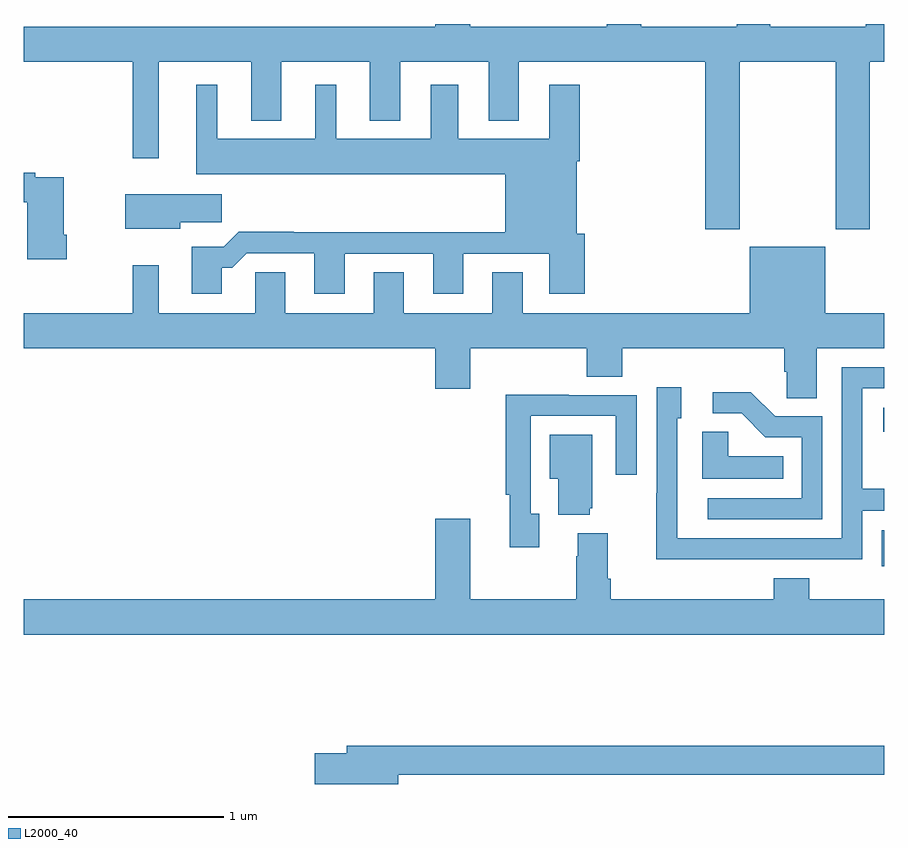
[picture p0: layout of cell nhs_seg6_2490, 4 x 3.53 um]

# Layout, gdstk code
import gdstk
lib = gdstk.Library(unit=1e-6, precision=1e-09)
def R(c, l, rs):  # rectangles x0, y0, x1, y1
    for r in rs: c.add(gdstk.rectangle(r[:2], r[2:], *l))
def P(c, l, *ps):  # polygons
    for p in ps: c.add(gdstk.Polygon(p, *l))
L2000_40 = (2000, 40)

nhs_seg6_2490 = lib.new_cell('nhs_seg6_2490')
R(nhs_seg6_2490, L2000_40, [(262.989,956.979,263,957.147), (262.995,957.605,263,957.715)])
P(nhs_seg6_2490, L2000_40, [(262.329,959.324),(262.774,959.324),(262.774,958.545),(262.934,958.545),(262.934,959.324),(263,959.324),(263,959.5),(262.915,959.5),(262.915,959.488),(262.47,959.488),(262.47,959.5),(262.315,959.5),(262.315,959.488),(261.87,959.488),(261.87,959.5),(261.71,959.5),(261.71,959.488),(261.076,959.488),(261.076,959.5),(260.912,959.5),(260.912,959.488),(259,959.488),(259,959.324),(259.506,959.324),(259.506,958.875),(259.627,958.875),(259.627,959.324),(260.057,959.324),(260.057,959.051),(260.197,959.051),(260.197,959.324),(260.609,959.324),(260.609,959.051),(260.749,959.051),(260.749,959.324),(261.161,959.324),(261.161,959.051),(261.301,959.051),(261.301,959.324),(262.169,959.324),(262.169,958.545),(262.329,958.545)],
  [(259.921,958.367),(259.97,958.367),(260.037,958.434),(260.351,958.434),(260.351,958.245),(260.491,958.245),(260.491,958.431),(260.903,958.431),(260.903,958.245),(261.043,958.245),(261.043,958.431),(261.443,958.431),(261.443,958.245),(261.608,958.245),(261.608,958.524),(261.571,958.524),(261.571,958.862),(261.584,958.862),(261.584,959.218),(261.443,959.218),(261.443,958.966),(261.019,958.966),(261.019,959.218),(260.891,959.218),(260.891,958.966),(260.452,958.966),(260.452,959.218),(260.354,959.218),(260.354,958.966),(259.9,958.966),(259.9,959.218),(259.802,959.218),(259.802,958.802),(261.239,958.802),(261.239,958.532),(260.255,958.532),(260.255,958.535),(260,958.535),(259.93,958.465),(259.781,958.465),(259.781,958.245),(259.921,958.245)],
  [(259.199,958.519),(259.186,958.519),(259.186,958.788),(259.052,958.788),(259.052,958.808),(259,958.808),(259,958.672),(259.016,958.672),(259.016,958.407),(259.199,958.407)],
  [(259.726,958.579),(259.921,958.579),(259.921,958.708),(259.472,958.708),(259.472,958.547),(259.726,958.547)],
  [(260.767,958.346),(260.627,958.346),(260.627,958.156),(260.215,958.156),(260.215,958.346),(260.076,958.346),(260.076,958.156),(259.627,958.156),(259.627,958.378),(259.506,958.378),(259.506,958.156),(259,958.156),(259,957.992),(260.912,957.992),(260.912,957.804),(261.076,957.804),(261.076,957.992),(261.617,957.992),(261.617,957.859),(261.782,957.859),(261.782,957.992),(262.535,957.992),(262.535,957.883),(262.548,957.883),(262.548,957.76),(262.687,957.76),(262.687,957.992),(263,957.992),(263,958.156),(262.726,958.156),(262.726,958.465),(262.376,958.465),(262.376,958.156),(261.319,958.156),(261.319,958.346),(261.179,958.346),(261.179,958.156),(260.767,958.156)],
  [(262.403,957.012),(262.899,957.012),(262.899,957.237),(263,957.237),(263,957.338),(262.899,957.338),(262.899,957.807),(263,957.807),(263,957.903),(262.803,957.903),(262.803,957.108),(262.038,957.108),(262.038,957.666),(262.057,957.666),(262.057,957.811),(261.942,957.811),(261.942,957.317),(261.94,957.317),(261.94,957.011),(262.403,957.011)],
  [(262.713,957.675),(262.494,957.675),(262.381,957.788),(262.203,957.788),(262.203,957.69),(262.337,957.69),(262.448,957.579),(262.617,957.579),(262.617,957.294),(262.179,957.294),(262.179,957.198),(262.713,957.198)],
  [(261.397,957.222),(261.357,957.222),(261.357,957.678),(261.753,957.678),(261.753,957.405),(261.849,957.405),(261.849,957.774),(261.533,957.774),(261.533,957.776),(261.241,957.776),(261.241,957.31),(261.26,957.31),(261.26,957.066),(261.397,957.066)],
  [(262.532,957.49),(262.275,957.49),(262.275,957.605),(262.154,957.605),(262.154,957.386),(262.532,957.386)],
  [(261.632,957.249),(261.643,957.249),(261.643,957.589),(261.446,957.589),(261.446,957.386),(261.485,957.386),(261.485,957.218),(261.632,957.218)],
  [(263,956.824),(262.652,956.824),(262.652,956.923),(262.487,956.923),(262.487,956.824),(261.728,956.824),(261.728,956.92),(261.715,956.92),(261.715,957.133),(261.575,957.133),(261.575,957.026),(261.568,957.026),(261.568,956.824),(261.076,956.824),(261.076,957.199),(260.912,957.199),(260.912,956.824),(259,956.824),(259,956.66),(263,956.66)],
  [(260.74,956.008),(263,956.008),(263,956.144),(260.501,956.144),(260.501,956.108),(260.352,956.108),(260.352,955.966),(260.74,955.966)])

lib.write_gds('nhs_seg6_2490.gds')
